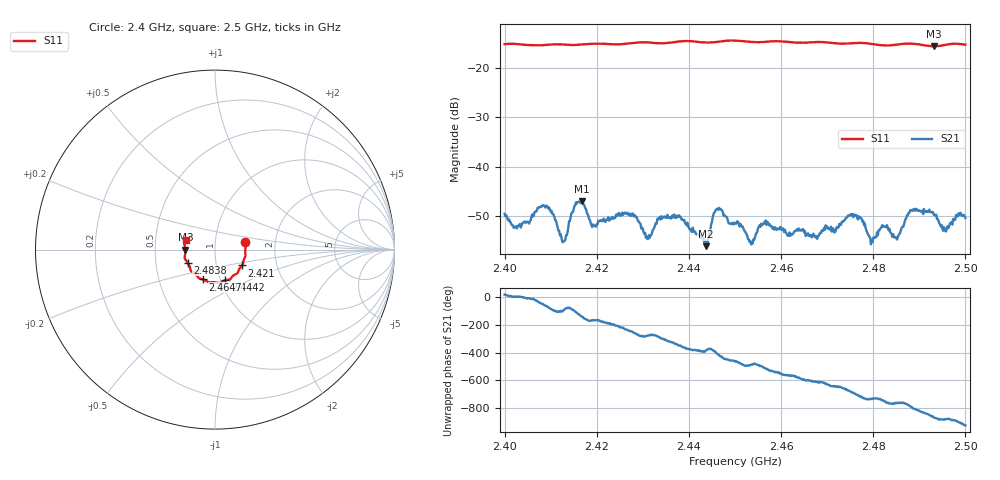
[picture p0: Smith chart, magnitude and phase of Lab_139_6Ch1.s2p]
# Hz S RI R 50
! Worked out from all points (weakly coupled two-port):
!   601 points, 2.4 GHz to 2.5 GHz, reference 50 ohm
!   highest |S21| = -47.00 dB at 2.4168 GHz (marker M1); lowest = -56.1 dB at 2.4437 GHz (marker M2)
!   lowest |S11| = -15.6 dB at 2.4932 GHz (marker M3), VSWR 1.40, Z = 35.8 - j0.0945 ohm
!   |S11| at or under -10 dB: start of sweep to end of sweep
!   S12 and S22 are empty: the file has one direction only
!   S11 on the Smith chart (normalised r, x): 2.4 GHz: 1.40, +0.12; 2.421 GHz: 1.33, -0.24; 2.4442 GHz: 1.05, -0.37; 2.4647 GHz: 0.83, -0.28; 2.4838 GHz: 0.73, -0.11; 2.5 GHz: 0.72, +0.08
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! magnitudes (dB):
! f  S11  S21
! 2.4 GHz  -15.2  -49.6
! 2.4088 GHz  -15.4  -48.3
! 2.4128 GHz  -15.3  -55.1
! 2.4167 GHz  -15.3  -47.3
! 2.4168 GHz  -15.2  -47.0
! 2.421 GHz  -15.1  -50.8
! 2.4282 GHz  -14.9  -49.8
! 2.4312 GHz  -14.9  -54.6
! 2.4333 GHz  -15.0  -50.7
! 2.4437 GHz  -14.9  -56.1
! 2.4442 GHz  -14.9  -54.8
! 2.4462 GHz  -14.7  -48.5
! 2.45 GHz  -14.5  -51.4
! 2.4533 GHz  -14.7  -55.1
! 2.4647 GHz  -14.9  -52.7
! 2.4667 GHz  -14.8  -54.3
! 2.475 GHz  -15.1  -49.9
! 2.4797 GHz  -15.2  -55.0
! 2.4833 GHz  -15.5  -52.9
! 2.4838 GHz  -15.5  -53.4
! 2.4932 GHz  -15.6  -49.8
! 2.5 GHz  -15.3  -50.4
